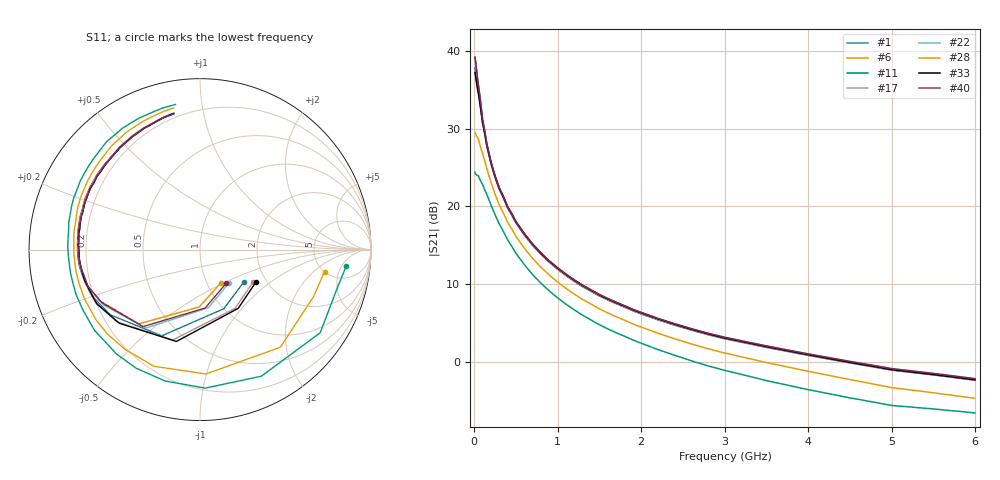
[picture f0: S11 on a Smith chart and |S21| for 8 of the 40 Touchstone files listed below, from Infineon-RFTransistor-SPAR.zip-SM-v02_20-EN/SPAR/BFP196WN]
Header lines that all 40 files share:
! Infineon Technologies  Discrete & RF Semiconductors
! BFP196WN
! Common Emitter S-Parameters:  Jan 2017
# GHz  S  MA  R  50
!  f  S11  S21  S12  S22
! GHz  MAG  ANG  MAG  ANG  MAG  ANG  MAG  ANG
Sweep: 10 MHz to 6 GHz
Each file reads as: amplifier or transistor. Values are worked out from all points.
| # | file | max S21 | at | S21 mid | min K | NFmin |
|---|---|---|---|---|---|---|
| 1 | BFP196WN_w_noise_VCE_7.0V_IC_45mA.s2p | 37.8 dB | 10 MHz | 5.4 dB at 2.2 GHz | 0.13 | 1.22 dB |
| 2 | BFP196WN_w_noise_VCE_7.0V_IC_50mA.s2p | 38.2 dB | 10 MHz | 5.4 dB at 2.2 GHz | 0.15 | 1.27 dB |
| 3 | BFP196WN_w_noise_VCE_7.0V_IC_55mA.s2p | 38.5 dB | 10 MHz | 5.4 dB at 2.2 GHz | 0.16 | 1.34 dB |
| 4 | BFP196WN_w_noise_VCE_7.0V_IC_60mA.s2p | 38.7 dB | 10 MHz | 5.4 dB at 2.2 GHz | 0.17 | 1.38 dB |
| 5 | BFP196WN_w_noise_VCE_7.0V_IC_65mA.s2p | 39.0 dB | 10 MHz | 5.5 dB at 2.2 GHz | 0.18 | 1.43 dB |
| 6 | BFP196WN_w_noise_VCE_7.0V_IC_70mA.s2p | 39.2 dB | 10 MHz | 5.4 dB at 2.2 GHz | 0.20 | 1.47 dB |
| 7 | BFP196WN_w_noise_VCE_7.0V_IC_75mA.s2p | 39.4 dB | 10 MHz | 5.4 dB at 2.2 GHz | 0.21 | 1.53 dB |
| 8 | BFP196WN_w_noise_VCE_7.0V_IC_80mA.s2p | 39.5 dB | 10 MHz | 5.4 dB at 2.2 GHz | 0.23 | 1.58 dB |
| 9 | BFP196WN_w_noise_VCE_7.0V_IC_85mA.s2p | 39.6 dB | 10 MHz | 5.4 dB at 2.2 GHz | 0.24 | 1.64 dB |
| 10 | BFP196WN_w_noise_VCE_7.0V_IC_90mA.s2p | 39.7 dB | 10 MHz | 5.3 dB at 2.2 GHz | 0.24 | 1.69 dB |
| 11 | BFP196WN_w_noise_VCE_8.0V_IC_5.0mA.s2p | 24.4 dB | 10 MHz | 1.6 dB at 2.2 GHz | 0.00 | 1.08 dB |
| 12 | BFP196WN_w_noise_VCE_8.0V_IC_10mA.s2p | 29.6 dB | 10 MHz | 3.6 dB at 2.2 GHz | -0.01 | 0.92 dB |
| 13 | BFP196WN_w_noise_VCE_8.0V_IC_20mA.s2p | 33.9 dB | 10 MHz | 4.8 dB at 2.2 GHz | 0.07 | 0.96 dB |
| 14 | BFP196WN_w_noise_VCE_8.0V_IC_25mA.s2p | 35.1 dB | 10 MHz | 5.1 dB at 2.2 GHz | 0.07 | 1.00 dB |
| 15 | BFP196WN_w_noise_VCE_8.0V_IC_30mA.s2p | 36.0 dB | 10 MHz | 5.2 dB at 2.2 GHz | 0.09 | 1.06 dB |
| 16 | BFP196WN_w_noise_VCE_8.0V_IC_35mA.s2p | 36.7 dB | 10 MHz | 5.4 dB at 2.2 GHz | 0.09 | 1.11 dB |
| 17 | BFP196WN_w_noise_VCE_8.0V_IC_40mA.s2p | 37.3 dB | 10 MHz | 5.4 dB at 2.2 GHz | 0.13 | 1.16 dB |
| 18 | BFP196WN_w_noise_VCE_8.0V_IC_45mA.s2p | 37.8 dB | 10 MHz | 5.5 dB at 2.2 GHz | 0.14 | 1.22 dB |
| 19 | BFP196WN_w_noise_VCE_8.0V_IC_50mA.s2p | 38.1 dB | 10 MHz | 5.5 dB at 2.2 GHz | 0.16 | 1.27 dB |
| 20 | BFP196WN_w_noise_VCE_8.0V_IC_55mA.s2p | 38.5 dB | 10 MHz | 5.5 dB at 2.2 GHz | 0.16 | 1.34 dB |
| 21 | BFP196WN_w_noise_VCE_8.0V_IC_60mA.s2p | 38.7 dB | 10 MHz | 5.5 dB at 2.2 GHz | 0.18 | 1.38 dB |
| 22 | BFP196WN_w_noise_VCE_8.0V_IC_65mA.s2p | 38.9 dB | 10 MHz | 5.6 dB at 2.2 GHz | 0.19 | 1.43 dB |
| 23 | BFP196WN_w_noise_VCE_8.0V_IC_70mA.s2p | 39.1 dB | 10 MHz | 5.5 dB at 2.2 GHz | 0.20 | 1.47 dB |
| 24 | BFP196WN_w_noise_VCE_8.0V_IC_75mA.s2p | 39.3 dB | 10 MHz | 5.5 dB at 2.2 GHz | 0.21 | 1.53 dB |
| 25 | BFP196WN_w_noise_VCE_8.0V_IC_80mA.s2p | 39.4 dB | 10 MHz | 5.5 dB at 2.2 GHz | 0.22 | 1.58 dB |
| 26 | BFP196WN_w_noise_VCE_8.0V_IC_85mA.s2p | 39.5 dB | 10 MHz | 5.4 dB at 2.2 GHz | 0.23 | 1.64 dB |
| 27 | BFP196WN_w_noise_VCE_9.0V_IC_5.0mA.s2p | 24.3 dB | 10 MHz | 1.6 dB at 2.2 GHz | -0.04 | 1.08 dB |
| 28 | BFP196WN_w_noise_VCE_9.0V_IC_10mA.s2p | 29.6 dB | 10 MHz | 3.7 dB at 2.2 GHz | 0.02 | 0.92 dB |
| 29 | BFP196WN_w_noise_VCE_9.0V_IC_20mA.s2p | 33.9 dB | 10 MHz | 4.9 dB at 2.2 GHz | 0.05 | 0.96 dB |
| 30 | BFP196WN_w_noise_VCE_9.0V_IC_25mA.s2p | 35.1 dB | 10 MHz | 5.1 dB at 2.2 GHz | 0.12 | 1.00 dB |
| 31 | BFP196WN_w_noise_VCE_9.0V_IC_30mA.s2p | 36.0 dB | 10 MHz | 5.3 dB at 2.2 GHz | 0.10 | 1.06 dB |
| 32 | BFP196WN_w_noise_VCE_9.0V_IC_35mA.s2p | 36.7 dB | 10 MHz | 5.4 dB at 2.2 GHz | 0.13 | 1.11 dB |
| 33 | BFP196WN_w_noise_VCE_9.0V_IC_40mA.s2p | 37.2 dB | 10 MHz | 5.5 dB at 2.2 GHz | 0.12 | 1.16 dB |
| 34 | BFP196WN_w_noise_VCE_9.0V_IC_45mA.s2p | 37.7 dB | 10 MHz | 5.6 dB at 2.2 GHz | 0.14 | 1.22 dB |
| 35 | BFP196WN_w_noise_VCE_9.0V_IC_50mA.s2p | 38.1 dB | 10 MHz | 5.6 dB at 2.2 GHz | 0.16 | 1.27 dB |
| 36 | BFP196WN_w_noise_VCE_9.0V_IC_55mA.s2p | 38.4 dB | 10 MHz | 5.6 dB at 2.2 GHz | 0.19 | 1.34 dB |
| 37 | BFP196WN_w_noise_VCE_9.0V_IC_60mA.s2p | 38.6 dB | 10 MHz | 5.6 dB at 2.2 GHz | 0.18 | 1.38 dB |
| 38 | BFP196WN_w_noise_VCE_9.0V_IC_65mA.s2p | 38.9 dB | 10 MHz | 5.6 dB at 2.2 GHz | 0.19 | 1.43 dB |
| 39 | BFP196WN_w_noise_VCE_9.0V_IC_70mA.s2p | 39.1 dB | 10 MHz | 5.6 dB at 2.2 GHz | 0.20 | 1.47 dB |
| 40 | BFP196WN_w_noise_VCE_9.0V_IC_75mA.s2p | 39.2 dB | 10 MHz | 5.6 dB at 2.2 GHz | 0.22 | 1.53 dB |

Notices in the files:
Hoja de datos/BFP 450/Infineon-RFTransistor-SPAR.zip-SM-v02_20-EN/SPAR/BFP196WN/BFP196WN_w_noise_VCE_7.0V_IC_45mA.s2p:
(c) 2017  Infineon Technologies AG, Munich
